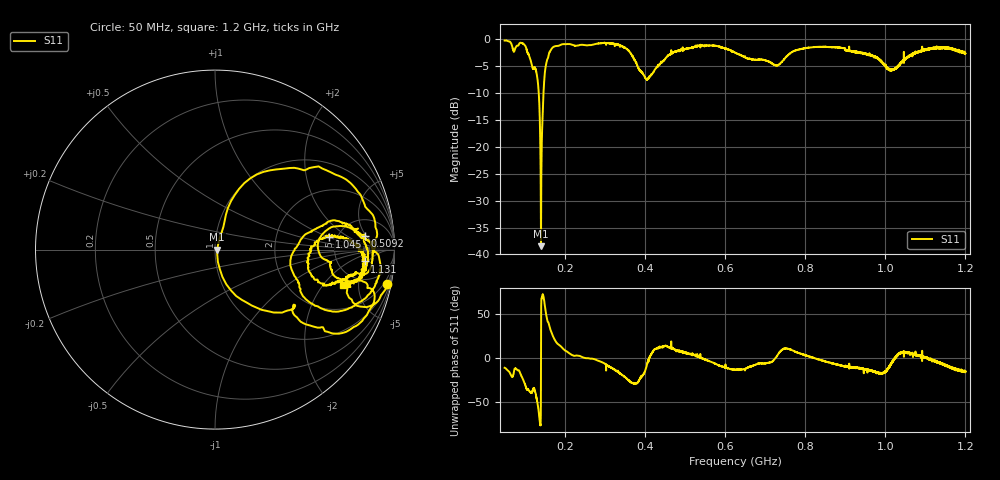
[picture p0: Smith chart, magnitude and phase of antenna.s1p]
! Calibrated high-resolution NanoVNA antenna measurement
# Hz S RI R 50
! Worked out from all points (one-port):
!   40001 points, 50 MHz to 1.2 GHz, reference 50 ohm
!   lowest |S11| = -38.5 dB at 140.8 MHz (marker M1), VSWR 1.02, Z = 51.2 - j0.0965 ohm
!   |S11| at or under -10 dB: 135.3 MHz to 147 MHz (11.75 MHz wide, 8.33 % of centre)
!   S11 on the Smith chart (normalised r, x): 50 MHz: 1, -10; 509.2 MHz: 9, +5; 1.045 GHz: 4.30, +1.04; 1.131 GHz: 9, -4; 1.2 GHz: 3.61, -3.27
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5e7  0.9582 -0.1901
7.251125e7  0.7342 -0.2373
9.27225e7  0.8612 -0.3363
1.058612e8  0.6365 -0.4642
1.266188e8  0.4117 -0.3377
1.32225e8  0.2603 -0.3357
1.368538e8  0.0836 -0.2225
1.407638e8  0.0119 -0.000942
1.447312e8  0.0583 0.1857
1.488425e8  0.1709 0.3775
1.563462e8  0.4713 0.4501
1.715838e8  0.7776 0.3472
1.9375e8  0.8839 0.1835
3.375e8  0.8413 -0.2676
3.689525e8  0.616 -0.3358
4.034525e8  0.4186 -0.0809
4.338125e8  0.5619 0.1171
4.8125e8  0.7749 0.1152
5.091662e8  0.8342 0.0772
6.25e8  0.7341 -0.1743
7.29075e8  0.5729 0.0187
7.6875e8  0.7614 0.1173
9.125e8  0.7718 -0.1396
9.885725e8  0.6014 -0.189
1.04521e9  0.6365 0.0711
1.05625e9  0.689 0.0718
1.131489e9  0.8332 -0.066
1.2e9  0.7116 -0.2051
